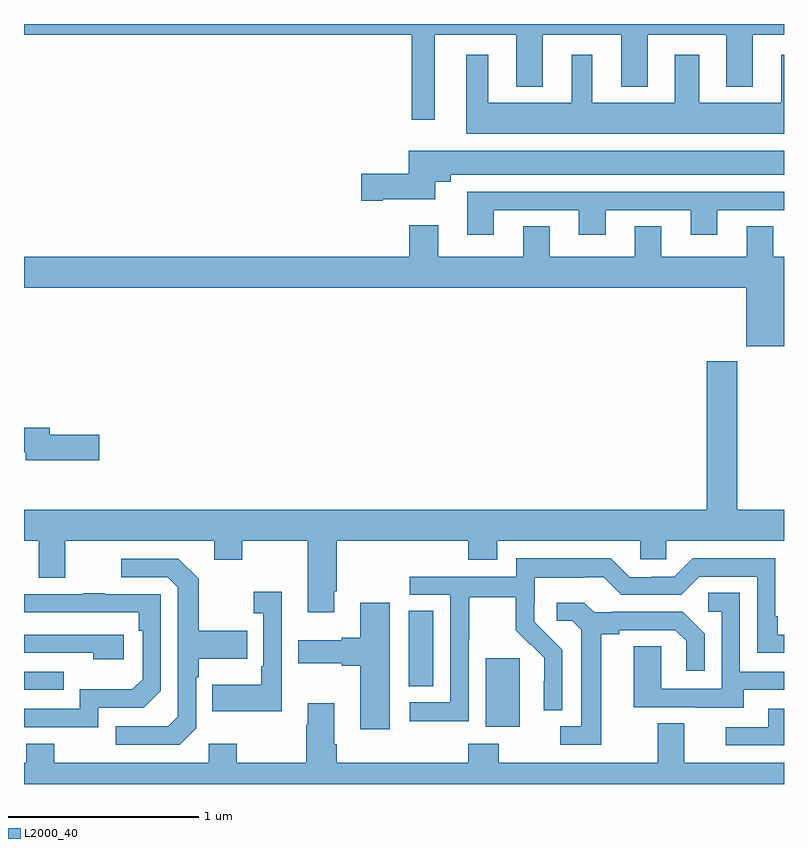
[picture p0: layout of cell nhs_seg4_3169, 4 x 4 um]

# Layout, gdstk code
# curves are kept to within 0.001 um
import gdstk
lib = gdstk.Library(unit=1e-6, precision=1e-09)
def R(c, l, rs):  # rectangles x0, y0, x1, y1
    for r in rs: c.add(gdstk.rectangle(r[:2], r[2:], *l))
def P(c, l, *ps):  # polygons
    for p in ps: c.add(gdstk.Polygon(p, *l))
L2000_40 = (2000, 40)

nhs_seg4_3169 = lib.new_cell('nhs_seg4_3169')
R(nhs_seg4_3169, L2000_40, [(281.429,769.202,281.608,769.563), (279,769.395,279.209,769.491), (281.024,769.414,281.155,769.811)])
P(nhs_seg4_3169, L2000_40, [(281.161,772.844),(281.591,772.844),(281.591,772.571),(281.731,772.571),(281.731,772.844),(282.143,772.844),(282.143,772.571),(282.283,772.571),(282.283,772.844),(282.695,772.844),(282.695,772.571),(282.835,772.571),(282.835,772.844),(283,772.844),(283,772.9),(279,772.9),(279,772.844),(281.04,772.844),(281.04,772.395),(281.161,772.395)],
  [(283,772.738),(282.986,772.738),(282.986,772.486),(282.553,772.486),(282.553,772.738),(282.425,772.738),(282.425,772.486),(281.992,772.486),(281.992,772.738),(281.882,772.738),(281.882,772.486),(281.443,772.486),(281.443,772.738),(281.327,772.738),(281.327,772.322),(283,772.322)],
  [(280.888,771.977),(281.164,771.977),(281.164,772.07),(281.245,772.07),(281.245,772.106),(283,772.106),(283,772.234),(281.024,772.234),(281.024,772.112),(280.776,772.112),(280.776,771.97),(280.888,771.97)],
  [(281.473,771.921),(281.921,771.921),(281.921,771.792),(282.061,771.792),(282.061,771.921),(282.509,771.921),(282.509,771.792),(282.649,771.792),(282.649,771.921),(283,771.921),(283,772.017),(281.333,772.017),(281.333,771.792),(281.473,771.792)],
  [(283,771.676),(282.943,771.676),(282.943,771.836),(282.803,771.836),(282.803,771.676),(282.355,771.676),(282.355,771.836),(282.215,771.836),(282.215,771.676),(281.767,771.676),(281.767,771.836),(281.627,771.836),(281.627,771.676),(281.179,771.676),(281.179,771.841),(281.027,771.841),(281.027,771.676),(279,771.676),(279,771.512),(282.8,771.512),(282.8,771.203),(283,771.203)],
  [(279.397,770.738),(279.136,770.738),(279.136,770.774),(279,770.774),(279,770.646),(279.008,770.646),(279.008,770.603),(279.397,770.603)],
  [(282.593,771.124),(282.593,770.344),(279,770.344),(279,770.18),(279.077,770.18),(279.077,769.986),(279.217,769.986),(279.217,770.18),(280.001,770.18),(280.001,770.081),(280.149,770.081),(280.149,770.18),(280.493,770.18),(280.493,769.803),(280.633,769.803),(280.633,769.915),(280.646,769.915),(280.646,770.18),(281.339,770.18),(281.339,770.081),(281.491,770.081),(281.491,770.18),(282.243,770.18),(282.243,770.082),(282.381,770.082),(282.381,770.18),(283,770.18),(283,770.344),(282.753,770.344),(282.753,771.124)],
  [(281.34,769.66),(281.343,769.66),(281.343,769.884),(281.587,769.884),(281.587,769.709),(281.664,769.632),(281.667,769.635),(281.738,769.565),(281.738,769.442),(281.736,769.442),(281.736,769.288),(281.832,769.288),(281.832,769.606),(281.686,769.754),(281.686,769.851),(281.688,769.851),(281.688,769.985),(281.951,769.985),(281.951,769.989),(282.051,769.989),(282.144,769.896),(282.459,769.896),(282.555,769.992),(282.858,769.992),(282.858,769.59),(283,769.59),(283,769.686),(282.967,769.686),(282.967,769.783),(282.954,769.783),(282.954,770.088),(282.519,770.088),(282.423,769.992),(282.305,769.992),(282.305,769.989),(282.189,769.989),(282.089,770.089),(281.592,770.089),(281.592,769.992),(281.031,769.992),(281.031,769.896),(281.244,769.896),(281.244,769.329),(281.031,769.329),(281.031,769.231),(281.34,769.231)],
  [(279.906,769.194),(279.906,769.463),(279.919,769.463),(279.919,769.559),(280.175,769.559),(280.175,769.707),(279.919,769.707),(279.919,769.979),(279.813,770.085),(279.513,770.085),(279.513,769.989),(279.756,769.989),(279.81,769.935),(279.81,769.254),(279.759,769.203),(279.483,769.203),(279.483,769.107),(279.819,769.107)],
  [(280.356,769.912),(280.209,769.912),(280.209,769.799),(280.26,769.799),(280.26,769.519),(280.248,769.519),(280.248,769.423),(279.991,769.423),(279.991,769.283),(280.356,769.283)],
  [(282.787,769.395),(283,769.395),(283,769.491),(282.768,769.491),(282.768,769.907),(282.6,769.907),(282.6,769.806),(282.672,769.806),(282.672,769.401),(282.354,769.401),(282.354,769.625),(282.209,769.625),(282.209,769.305),(282.533,769.305),(282.533,769.301),(282.787,769.301)],
  [(279.39,769.302),(279.63,769.302),(279.72,769.392),(279.72,769.899),(279.425,769.899),(279.425,769.904),(279.313,769.904),(279.313,769.899),(279,769.899),(279,769.803),(279.604,769.803),(279.604,769.706),(279.624,769.706),(279.624,769.452),(279.571,769.399),(279.294,769.399),(279.294,769.296),(279,769.296),(279,769.2),(279.39,769.2)],
  [(280.924,769.855),(280.769,769.855),(280.769,769.67),(280.673,769.67),(280.673,769.657),(280.443,769.657),(280.443,769.535),(280.673,769.535),(280.673,769.523),(280.769,769.523),(280.769,769.188),(280.924,769.188)],
  [(282.037,769.688),(282.133,769.688),(282.133,769.71),(282.428,769.71),(282.485,769.653),(282.485,769.497),(282.582,769.497),(282.582,769.69),(282.466,769.806),(282.094,769.806),(282.094,769.803),(282,769.803),(281.948,769.855),(281.805,769.855),(281.805,769.758),(281.886,769.758),(281.933,769.711),(281.933,769.203),(281.823,769.203),(281.823,769.107),(282.037,769.107)],
  [(279.526,769.686),(279,769.686),(279,769.59),(279.365,769.59),(279.365,769.556),(279.526,769.556)],
  [(283,769.012),(282.475,769.012),(282.475,769.22),(282.335,769.22),(282.335,769.012),(281.499,769.012),(281.499,769.111),(281.339,769.111),(281.339,769.012),(280.646,769.012),(280.646,769.108),(280.633,769.108),(280.633,769.324),(280.493,769.324),(280.493,769.211),(280.486,769.211),(280.486,769.012),(280.119,769.012),(280.119,769.111),(279.972,769.111),(279.972,769.012),(279.159,769.012),(279.159,769.111),(279.011,769.111),(279.011,769.012),(279,769.012),(279,768.9),(283,768.9)],
  [(283,769.296),(282.917,769.296),(282.917,769.2),(282.693,769.2),(282.693,769.104),(283,769.104)])

lib.write_gds('nhs_seg4_3169.gds')
